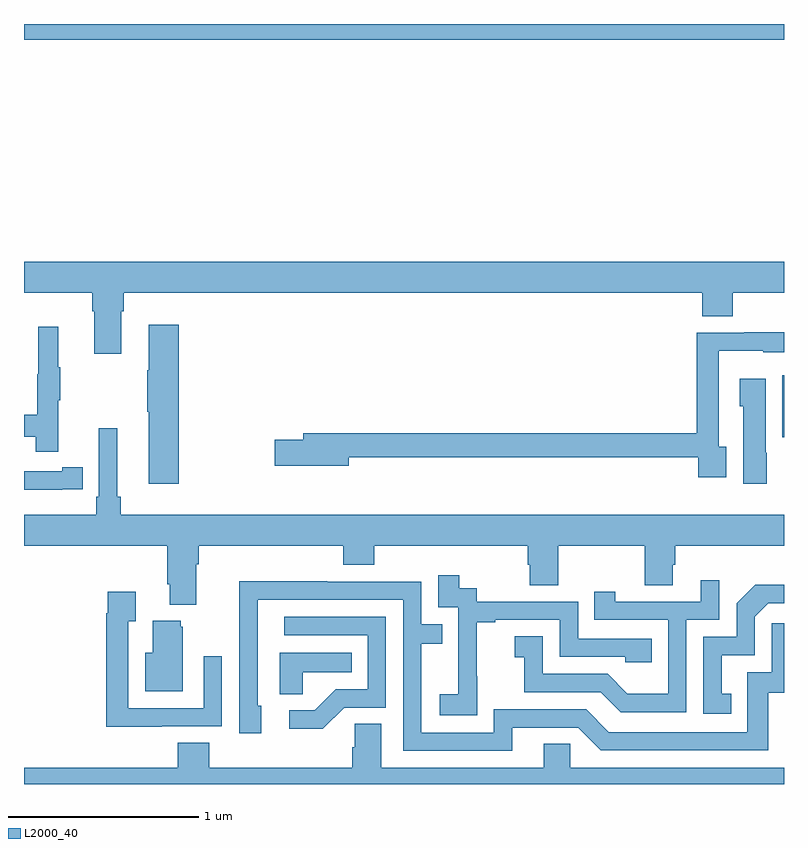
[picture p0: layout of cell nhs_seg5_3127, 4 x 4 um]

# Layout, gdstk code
import gdstk
lib = gdstk.Library(unit=1e-6, precision=1e-09)
def R(c, l, rs):  # rectangles x0, y0, x1, y1
    for r in rs: c.add(gdstk.rectangle(r[:2], r[2:], *l))
def P(c, l, *ps):  # polygons
    for p in ps: c.add(gdstk.Polygon(p, *l))
L2000_40 = (2000, 40)

nhs_seg5_3127 = lib.new_cell('nhs_seg5_3127')
R(nhs_seg5_3127, L2000_40, [(294.992,898.623,295,898.951), (291,900.716,295,900.799)])
P(nhs_seg5_3127, L2000_40, [(291.511,899.288),(291.524,899.288),(291.524,899.384),(294.569,899.384),(294.569,899.26),(294.729,899.26),(294.729,899.384),(295,899.384),(295,899.548),(291,899.548),(291,899.384),(291.359,899.384),(291.359,899.288),(291.371,899.288),(291.371,899.064),(291.511,899.064)],
  [(291.815,899.215),(291.656,899.215),(291.656,898.976),(291.649,898.976),(291.649,898.759),(291.656,898.759),(291.656,898.38),(291.815,898.38)],
  [(291.179,898.819),(291.19,898.819),(291.19,898.993),(291.179,898.993),(291.179,899.206),(291.076,899.206),(291.076,898.956),(291.069,898.956),(291.069,898.742),(291,898.742),(291,898.626),(291.061,898.626),(291.061,898.548),(291.179,898.548)],
  [(294.697,898.574),(294.657,898.574),(294.657,899.078),(294.891,899.078),(294.891,899.072),(295,899.072),(295,899.177),(294.791,899.177),(294.791,899.175),(294.541,899.175),(294.541,898.646),(292.469,898.646),(292.469,898.61),(292.32,898.61),(292.32,898.475),(292.708,898.475),(292.708,898.518),(294.549,898.518),(294.549,898.413),(294.697,898.413)],
  [(294.91,898.542),(294.904,898.542),(294.904,898.933),(294.767,898.933),(294.767,898.788),(294.785,898.788),(294.785,898.38),(294.91,898.38)],
  [(291.907,897.956),(291.92,897.956),(291.92,898.052),(292.679,898.052),(292.679,897.953),(292.844,897.953),(292.844,898.052),(293.651,898.052),(293.651,897.954),(293.663,897.954),(293.663,897.844),(293.811,897.844),(293.811,898.052),(294.268,898.052),(294.268,897.844),(294.415,897.844),(294.415,897.954),(294.428,897.954),(294.428,898.052),(295,898.052),(295,898.216),(291.509,898.216),(291.509,898.312),(291.49,898.312),(291.49,898.672),(291.393,898.672),(291.393,898.312),(291.38,898.312),(291.38,898.216),(291,898.216),(291,898.052),(291.755,898.052),(291.755,897.85),(291.767,897.85),(291.767,897.743),(291.907,897.743)],
  [(291.2,898.35),(291.308,898.35),(291.308,898.466),(291.2,898.466),(291.2,898.446),(291,898.446),(291,898.349),(291.2,898.349)],
  [(293.385,897.367),(293.384,897.367),(293.384,897.651),(293.479,897.651),(293.479,897.663),(293.82,897.663),(293.82,897.468),(294.165,897.468),(294.165,897.441),(294.305,897.441),(294.305,897.564),(293.916,897.564),(293.916,897.759),(293.382,897.759),(293.382,897.828),(293.29,897.828),(293.29,897.898),(293.181,897.898),(293.181,897.729),(293.286,897.729),(293.286,897.5),(293.285,897.5),(293.285,897.271),(293.187,897.271),(293.187,897.161),(293.385,897.161)],
  [(294.486,897.663),(294.66,897.663),(294.66,897.871),(294.563,897.871),(294.563,897.759),(294.112,897.759),(294.112,897.811),(294.001,897.811),(294.001,897.663),(294.39,897.663),(294.39,897.274),(294.176,897.274),(294.072,897.378),(293.73,897.378),(293.73,897.577),(293.583,897.577),(293.583,897.467),(293.632,897.467),(293.632,897.282),(294.035,897.282),(294.14,897.177),(294.486,897.177)],
  [(293.569,897.096),(293.916,897.096),(294.036,896.976),(294.916,896.976),(294.916,897.279),(295,897.279),(295,897.646),(294.936,897.646),(294.936,897.387),(294.807,897.387),(294.807,897.072),(294.078,897.072),(293.958,897.192),(293.472,897.192),(293.472,897.069),(293.091,897.069),(293.091,897.538),(293.201,897.538),(293.201,897.639),(293.091,897.639),(293.091,897.864),(292.595,897.864),(292.595,897.866),(292.132,897.866),(292.132,897.559),(292.134,897.559),(292.134,897.066),(292.249,897.066),(292.249,897.21),(292.23,897.21),(292.23,897.768),(292.995,897.768),(292.995,896.973),(293.569,896.973)],
  [(294.722,897.273),(294.673,897.273),(294.673,897.477),(294.846,897.477),(294.846,897.678),(294.918,897.75),(295,897.75),(295,897.848),(294.848,897.848),(294.75,897.75),(294.75,897.573),(294.576,897.573),(294.576,897.168),(294.722,897.168)],
  [(291.725,897.102),(292.041,897.102),(292.041,897.472),(291.945,897.472),(291.945,897.198),(291.549,897.198),(291.549,897.655),(291.589,897.655),(291.589,897.811),(291.441,897.811),(291.441,897.698),(291.433,897.698),(291.433,897.101),(291.725,897.101)],
  [(292.686,897.201),(292.905,897.201),(292.905,897.678),(292.371,897.678),(292.371,897.582),(292.809,897.582),(292.809,897.297),(292.64,897.297),(292.529,897.186),(292.395,897.186),(292.395,897.089),(292.573,897.089)],
  [(291.835,897.627),(291.824,897.627),(291.824,897.658),(291.677,897.658),(291.677,897.49),(291.638,897.49),(291.638,897.287),(291.835,897.287)],
  [(292.467,897.386),(292.724,897.386),(292.724,897.49),(292.346,897.49),(292.346,897.271),(292.467,897.271)],
  [(295,896.884),(293.874,896.884),(293.874,897.011),(293.735,897.011),(293.735,896.884),(292.879,896.884),(292.879,897.116),(292.74,897.116),(292.74,896.993),(292.727,896.993),(292.727,896.884),(291.974,896.884),(291.974,897.017),(291.809,897.017),(291.809,896.884),(291,896.884),(291,896.799),(295,896.799)])

lib.write_gds('nhs_seg5_3127.gds')
